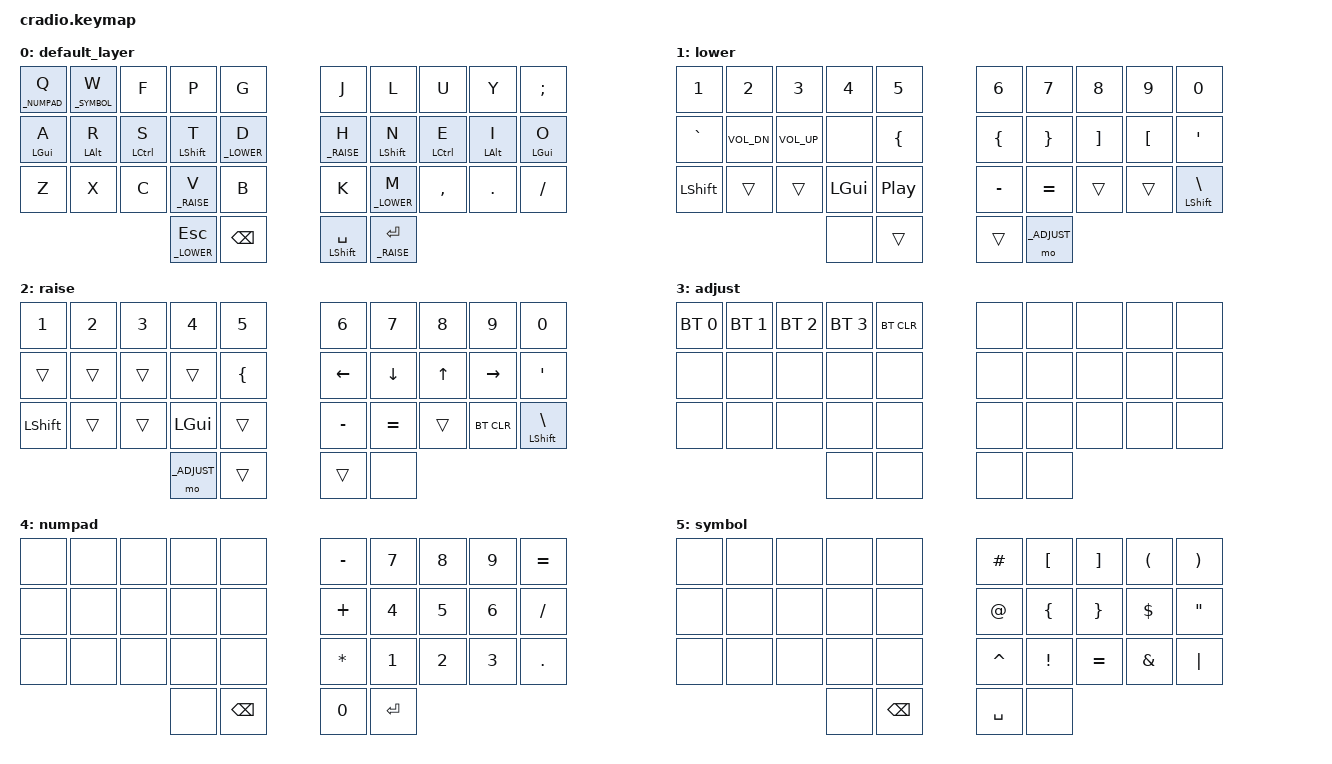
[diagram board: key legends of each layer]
/*
 * Copyright (c) 2020 The ZMK Contributors
 *
 * SPDX-License-Identifier: MIT
 */

#include <behaviors.dtsi>
#include <dt-bindings/zmk/keys.h>
#include <dt-bindings/zmk/bt.h>

#define             _COLEMAK 0
#define             _LOWER   1
#define             _RAISE   2
#define             _ADJUST  3
#define             _NUMPAD  4
#define             _SYMBOL  5

#define VOL_U       &kp C_VOL_UP
#define VOL_D       &kp C_VOL_DN

#define BT0         &bt BT_SEL 0
#define BT1         &bt BT_SEL 1
#define BT2         &bt BT_SEL 2
#define BT3         &bt BT_SEL 3

#define ADJUST      &mo _ADJUST
#define LOWER       &mo _LOWER
#define RAISE       &mo _RAISE

#define SPC_SHFT    &hm LSHFT SPC
#define ESC_LOW     &lt _LOWER ESC
#define RET_RSE     &lt _RAISE RET
#define BSLH_SHFT   &hm LSHFT BSLH

#define A_GUI       &hm LGUI  A
#define R_ALT       &hm LALT  R
#define S_CTRL      &hm LCTRL S
#define T_SHFT      &hm LSHFT T

#define N_SHFT      &hm LSHFT N
#define E_CTRL      &hm LCTRL E
#define I_ALT       &hm LALT  I
#define O_GUI       &hm LGUI  O

#define W_SYM       &lt _SYMBOL W
#define Q_NUM       &lt _NUMPAD Q
#define M_LOW       &lt _LOWER  M
#define D_LOW       &lt _LOWER  D
#define V_RSE       &lt _RAISE  V
#define H_RSE       &lt _RAISE  H

&kscan0 {
    debounce-period  = <12>;
};

&mt {
    flavor = "tap-preferred";
    tapping_term_ms = <185>;
	retro-tap;
};

&caps_word {
    continue-list = <UNDERSCORE MINUS BACKSPACE>;
};

/ { 

        combos {
            compatible = "zmk,combos";

            combo_esc {
                timeout-ms = <50>;
                key-positions = <11 12>;
                bindings = <&kp ESC>;
            };

            combo_tab {
                timeout-ms = <20>;
                key-positions = <12 13>;
                bindings = <&kp TAB>;
            };

            combo_ret {
                timeout-ms = <20>;
                key-positions = <17 18>;
                bindings = <&kp RET>;
            };
            
            combo_caps_word {
                timeout-ms = <20>;
                //               C  V
                key-positions = <22 23>;
                bindings = <&caps_word>;
                layers = <0 1 2 3 4 5>;
            };

            combo_lbrc {
                timeout-ms = <20>;
                //               T  D
                key-positions = <13 14>;
                bindings = <&kp LBRC>;
                layers = <0 1 2 3 4 5>;
            };

            combo_rbrc {
                timeout-ms = <20>;
                //               T  D
                key-positions = <15 16>;
                bindings = <&kp LBRC>;
                layers = <0 1 2 3 4 5>;
            };
            
        };
    
        behaviors {
            hm: homerow_mods {
                compatible = "zmk,behavior-hold-tap";
                label = "HOMEROW_MODS";
                #binding-cells = <2>;
                tapping-term-ms = <220>;
                quick-tap-ms = <0>;
                flavor = "tap-preferred";
                bindings = <&kp>, <&kp>;
            };
        };

        keymap {
            compatible = "zmk,keymap";
                
       		default_layer {
		bindings = <
            Q_NUM       W_SYM       &kp F       &kp P       &kp G 				    &kp J       &kp L       &kp U       &kp Y       &kp SEMI
            A_GUI       R_ALT       S_CTRL      T_SHFT      D_LOW 			        H_RSE       N_SHFT      E_CTRL      I_ALT       O_GUI
            &kp Z       &kp X       &kp C       V_RSE       &kp B                   &kp K       M_LOW       &kp COMMA   &kp DOT     &kp SLASH
                                                ESC_LOW     &kp BSPC  				SPC_SHFT    RET_RSE 
		>;
		};

       		lower {
		bindings = <
            &kp N1      &kp N2      &kp N3      &kp N4      &kp N5  				&kp N6      &kp N7      &kp N8      &kp N9      &kp N0  
            &kp GRAVE   VOL_D       VOL_U       &none       &kp LBRC                &kp LBRC    &kp RBRC    &kp RBKT    &kp LBKT    &kp SQT
            &kp LSHFT   &trans      &trans      &kp LGUI    &kp C_PP                &kp MINUS   &kp EQUAL   &trans      &trans      BSLH_SHFT
                                                &none       &trans  				&trans      ADJUST 
		>;
		};
		
		raise {
		bindings = <
            &kp N1      &kp N2      &kp N3      &kp N4      &kp N5  				&kp N6      &kp N7      &kp N8      &kp N9      &kp N0  
            &trans      &trans      &trans      &trans      &kp LBRC 			    &kp LEFT    &kp DOWN    &kp UP      &kp RIGHT   &kp SQT
            &kp LSHFT   &trans      &trans      &kp LGUI    &trans                  &kp MINUS   &kp EQUAL   &trans      &bt BT_CLR  BSLH_SHFT
                                                ADJUST      &trans  				&trans      &none 
		>;
		};	
		
		adjust {
		bindings = <
            BT0         BT1         BT2         BT3         &bt BT_CLR 				&none       &none       &none       &none       &none 
            &none       &none       &none       &none       &none 			        &none       &none       &none       &none       &none
            &none       &none       &none       &none       &none                   &none       &none       &none       &none       &none
                                                &none       &none  				    &none       &none 
		>;
		};	
		
		
		numpad {
		bindings = <
            &none       &none       &none       &none       &none                   &kp MINUS   &kp N7      &kp N8      &kp N9      &kp EQUAL 
            &none       &none       &none       &none       &none 			        &kp PLUS    &kp N4      &kp N5      &kp N6      &kp SLASH
            &none       &none       &none       &none       &none                   &kp STAR    &kp N1      &kp N2      &kp N3      &kp DOT
                                                &none       &kp BSPC  				&kp N0      &kp RET 
		>;
		};	

		symbol {
		bindings = <
            &none       &none       &none       &none       &none 				    &kp HASH    &kp LBKT    &kp RBKT    &kp LPAR    &kp RPAR
            &none       &none       &none       &none       &none 			        &kp AT      &kp LBRC    &kp RBRC    &kp DOLLAR  &kp DQT
            &none       &none       &none       &none       &none                   &kp CARET   &kp EXCL    &kp EQL     &kp AMPS    &kp PIPE
                                                &none       &kp BSPC  				&kp SPC     &none 
		>;
		};	
		
	};
};
